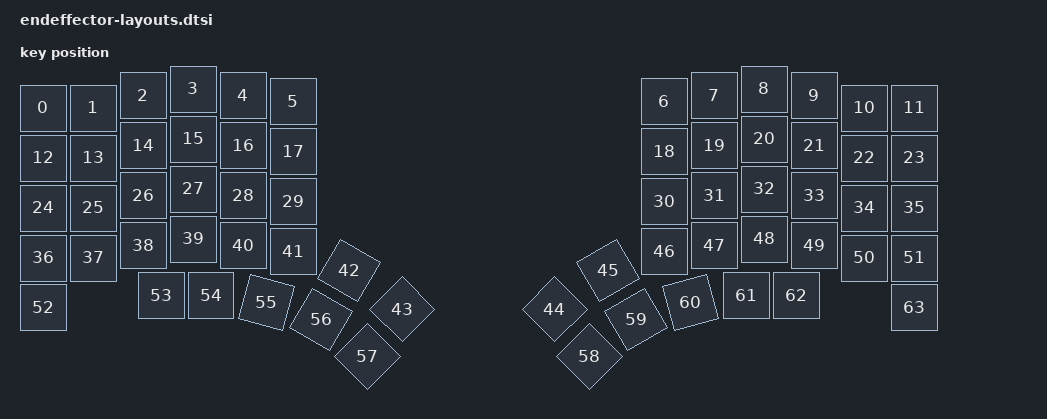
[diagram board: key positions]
#include <physical_layouts.dtsi>

/ {
    physical_layout_endeffector: physical_layout_endeffector {
        compatible = "zmk,physical-layout";
        display-name = "EndEffector";
        keys  //                     w   h    x    y     rot    rx    ry
            = <&key_physical_attrs 100 100    0   38       0     0    38>
            , <&key_physical_attrs 100 100  100   38       0   100    38>
            , <&key_physical_attrs 100 100  200   13       0   200    13>
            , <&key_physical_attrs 100 100  300    0       0   300     0>
            , <&key_physical_attrs 100 100  400   13       0   400    13>
            , <&key_physical_attrs 100 100  500   25       0   500    25>
            , <&key_physical_attrs 100 100 1242   25       0  1242    25>
            , <&key_physical_attrs 100 100 1342   13       0  1342    13>
            , <&key_physical_attrs 100 100 1442    0       0  1442     0>
            , <&key_physical_attrs 100 100 1542   13       0  1542    13>
            , <&key_physical_attrs 100 100 1642   38       0  1642    38>
            , <&key_physical_attrs 100 100 1742   38       0  1742    38>
            , <&key_physical_attrs 100 100    0  138       0     0   138>
            , <&key_physical_attrs 100 100  100  138       0   100   138>
            , <&key_physical_attrs 100 100  200  113       0   200   113>
            , <&key_physical_attrs 100 100  300  100       0   300   100>
            , <&key_physical_attrs 100 100  400  113       0   400   113>
            , <&key_physical_attrs 100 100  500  125       0   500   125>
            , <&key_physical_attrs 100 100 1242  125       0  1242   125>
            , <&key_physical_attrs 100 100 1342  113       0  1342   113>
            , <&key_physical_attrs 100 100 1442  100       0  1442   100>
            , <&key_physical_attrs 100 100 1542  113       0  1542   113>
            , <&key_physical_attrs 100 100 1642  138       0  1642   138>
            , <&key_physical_attrs 100 100 1742  138       0  1742   138>
            , <&key_physical_attrs 100 100    0  238       0     0   238>
            , <&key_physical_attrs 100 100  100  238       0   100   238>
            , <&key_physical_attrs 100 100  200  213       0   200   213>
            , <&key_physical_attrs 100 100  300  200       0   300   200>
            , <&key_physical_attrs 100 100  400  213       0   400   213>
            , <&key_physical_attrs 100 100  500  225       0   500   225>
            , <&key_physical_attrs 100 100 1242  225       0  1242   225>
            , <&key_physical_attrs 100 100 1342  213       0  1342   213>
            , <&key_physical_attrs 100 100 1442  200       0  1442   200>
            , <&key_physical_attrs 100 100 1542  213       0  1542   213>
            , <&key_physical_attrs 100 100 1642  238       0  1642   238>
            , <&key_physical_attrs 100 100 1742  238       0  1742   238>
            , <&key_physical_attrs 100 100    0  338       0     0   338>
            , <&key_physical_attrs 100 100  100  338       0   100   338>
            , <&key_physical_attrs 100 100  200  313       0   200   313>
            , <&key_physical_attrs 100 100  300  300       0   300   300>
            , <&key_physical_attrs 100 100  400  313       0   400   313>
            , <&key_physical_attrs 100 100  500  325       0   500   325>
            , <&key_physical_attrs 100 100  612  363    3000   662   413>
            , <&key_physical_attrs 100 100  742  343    4500   662   413>
            , <&key_physical_attrs 100 100 1000  343 (-4500)  1180   413>
            , <&key_physical_attrs 100 100 1130  363 (-3000)  1180   413>
            , <&key_physical_attrs 100 100 1242  325       0  1242   325>
            , <&key_physical_attrs 100 100 1342  313       0  1342   313>
            , <&key_physical_attrs 100 100 1442  300       0  1442   300>
            , <&key_physical_attrs 100 100 1542  313       0  1542   313>
            , <&key_physical_attrs 100 100 1642  338       0  1642   338>
            , <&key_physical_attrs 100 100 1742  338       0  1742   338>
            , <&key_physical_attrs 100 100    0  437       0     0   437>
            , <&key_physical_attrs 100 100  236  413       0   236   413>
            , <&key_physical_attrs 100 100  336  413       0   336   413>
            , <&key_physical_attrs 100 100  447  427    1500   497   477>
            , <&key_physical_attrs 100 100  556  461    3000   606   511>
            , <&key_physical_attrs 100 100  649  535    4500   699   585>
            , <&key_physical_attrs 100 100 1093  535 (-4500)  1143   585>
            , <&key_physical_attrs 100 100 1186  461 (-3000)  1236   511>
            , <&key_physical_attrs 100 100 1295  427 (-1500)  1345   477>
            , <&key_physical_attrs 100 100 1406  413       0  1406   413>
            , <&key_physical_attrs 100 100 1506  413       0  1506   413>
            , <&key_physical_attrs 100 100 1742  437       0  1742   437>
            ;
    };
};
